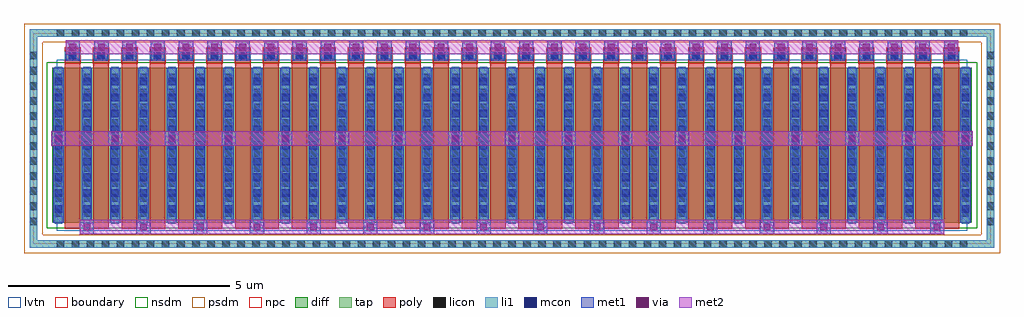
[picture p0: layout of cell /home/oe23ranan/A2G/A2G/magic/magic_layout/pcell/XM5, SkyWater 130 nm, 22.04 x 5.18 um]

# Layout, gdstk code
import gdstk
lib = gdstk.Library(unit=1e-6, precision=1e-09)
def R(c, l, rs):  # rectangles x0, y0, x1, y1
    for r in rs: c.add(gdstk.rectangle(r[:2], r[2:], *l))
def A(c, l, x, y, w, h, nx, ny, dx, dy):  # array of equal rectangles
    R(c, l, [(x+i*dx, y+j*dy, x+i*dx+w, y+j*dy+h) for i in range(nx) for j in range(ny)])
diff = (65, 20)
tap = (65, 44)
poly = (66, 20)
licon = (66, 44)
li1 = (67, 20)
mcon = (67, 44)
met1 = (68, 20)
via = (68, 44)
met2 = (69, 20)
nsdm = (93, 44)
psdm = (94, 20)
npc = (95, 20)
lvtn = (125, 44)
boundary = (235, 4)

via_m1_m2_1 = lib.new_cell('via_M1_M2_1')
R(via_m1_m2_1, met1, [(-0.16,-0.16,0.16,0.16)])
R(via_m1_m2_1, via, [(-0.075,-0.075,0.075,0.075)])
R(via_m1_m2_1, met2, [(-0.16,-0.16,0.16,0.16)])

xm5_origin = lib.new_cell('XM5_origin')
R(xm5_origin, diff, [(-10.385,-1.905,10.385,1.595)])
R(xm5_origin, tap, [(-10.895,-2.465,10.895,-2.295), (-10.895,-2.295,-10.725,2.295), (10.725,-2.295,10.895,2.295), (-10.895,2.295,10.895,2.465)])
A(xm5_origin, poly, -10.095, -2.035, 0.35, 4.07, 32, 1, 0.64, 0)
A(xm5_origin, licon, -10.285, -2.465, 0.17, 0.17, 61, 2, 0.34, 4.76)
A(xm5_origin, licon, -10.895, -1.955, 0.17, 0.17, 1, 12, 0, 0.34)
A(xm5_origin, licon, 10.725, -1.955, 0.17, 0.17, 1, 12, 0, 0.34)
A(xm5_origin, licon, -10.325, -1.77, 0.17, 0.17, 33, 10, 0.64, 0.34)
A(xm5_origin, licon, -10.005, 1.785, 0.17, 0.17, 32, 1, 0.64, 0)
A(xm5_origin, li1, -10.325, -1.925, 0.17, 3.54, 33, 1, 0.64, 0)
A(xm5_origin, li1, -10.095, 1.785, 0.35, 0.17, 32, 1, 0.64, 0)
R(xm5_origin, li1, [(-10.895,-2.465,10.895,-2.295), (-10.895,-2.295,-10.725,2.295), (10.725,-2.295,10.895,2.295), (-10.895,2.295,10.895,2.465)])
A(xm5_origin, mcon, -10.325, -1.68, 0.17, 0.17, 33, 9, 0.64, 0.36)
A(xm5_origin, mcon, -10.005, 1.785, 0.17, 0.17, 32, 1, 0.64, 0)
A(xm5_origin, met1, -10.355, -1.905, 0.23, 3.5, 33, 1, 0.64, 0)
A(xm5_origin, met1, -10.075, 1.755, 0.31, 0.23, 32, 1, 0.64, 0)
R(xm5_origin, nsdm, [(-10.51,-2.03,10.51,1.72)])
R(xm5_origin, psdm, [(-11.02,-2.59,11.02,-2.17), (-11.02,-2.17,-10.6,2.17), (10.6,-2.17,11.02,2.17), (-11.02,2.17,11.02,2.59)])
A(xm5_origin, npc, -10.105, 1.685, 0.37, 0.37, 32, 1, 0.64, 0)
R(xm5_origin, lvtn, [(-10.275,-2.085,10.275,1.775)])
R(xm5_origin, boundary, [(-10.81,-2.38,10.81,2.38)])
xm5_origin.add(gdstk.Label('G', (-9.92,1.87), layer=68, texttype=5))
xm5_origin.add(gdstk.Label('G', (-9.275,1.87), layer=68, texttype=5))
xm5_origin.add(gdstk.Label('G', (-8.64,1.87), layer=68, texttype=5))
xm5_origin.add(gdstk.Label('G', (-8,1.87), layer=68, texttype=5))
xm5_origin.add(gdstk.Label('G', (-7.36,1.87), layer=68, texttype=5))
xm5_origin.add(gdstk.Label('G', (-6.72,1.87), layer=68, texttype=5))
xm5_origin.add(gdstk.Label('G', (-6.08,1.87), layer=68, texttype=5))
xm5_origin.add(gdstk.Label('G', (-5.44,1.87), layer=68, texttype=5))
xm5_origin.add(gdstk.Label('G', (-4.8,1.87), layer=68, texttype=5))
xm5_origin.add(gdstk.Label('G', (-4.16,1.87), layer=68, texttype=5))
xm5_origin.add(gdstk.Label('G', (-3.52,1.87), layer=68, texttype=5))
xm5_origin.add(gdstk.Label('G', (-2.88,1.87), layer=68, texttype=5))
xm5_origin.add(gdstk.Label('G', (-2.24,1.87), layer=68, texttype=5))
xm5_origin.add(gdstk.Label('G', (-1.6,1.87), layer=68, texttype=5))
xm5_origin.add(gdstk.Label('G', (-0.96,1.87), layer=68, texttype=5))
xm5_origin.add(gdstk.Label('G', (-0.32,1.87), layer=68, texttype=5))
xm5_origin.add(gdstk.Label('G', (0.32,1.87), layer=68, texttype=5))
xm5_origin.add(gdstk.Label('G', (0.96,1.87), layer=68, texttype=5))
xm5_origin.add(gdstk.Label('G', (1.6,1.87), layer=68, texttype=5))
xm5_origin.add(gdstk.Label('G', (2.24,1.87), layer=68, texttype=5))
xm5_origin.add(gdstk.Label('G', (2.88,1.87), layer=68, texttype=5))
xm5_origin.add(gdstk.Label('G', (3.52,1.87), layer=68, texttype=5))
xm5_origin.add(gdstk.Label('G', (4.16,1.87), layer=68, texttype=5))
xm5_origin.add(gdstk.Label('G', (4.8,1.87), layer=68, texttype=5))
xm5_origin.add(gdstk.Label('G', (5.44,1.87), layer=68, texttype=5))
xm5_origin.add(gdstk.Label('G', (6.08,1.87), layer=68, texttype=5))
xm5_origin.add(gdstk.Label('G', (6.72,1.87), layer=68, texttype=5))
xm5_origin.add(gdstk.Label('G', (7.36,1.87), layer=68, texttype=5))
xm5_origin.add(gdstk.Label('G', (8,1.87), layer=68, texttype=5))
xm5_origin.add(gdstk.Label('G', (8.64,1.87), layer=68, texttype=5))
xm5_origin.add(gdstk.Label('G', (9.275,1.87), layer=68, texttype=5))
xm5_origin.add(gdstk.Label('G', (9.92,1.87), layer=68, texttype=5))
xm5_origin.add(gdstk.Label('D', (-10.24,-0.155), layer=68, texttype=5))
xm5_origin.add(gdstk.Label('S', (-9.6,-0.155), layer=68, texttype=5))
xm5_origin.add(gdstk.Label('D', (-8.96,-0.155), layer=68, texttype=5))
xm5_origin.add(gdstk.Label('S', (-8.32,-0.155), layer=68, texttype=5))
xm5_origin.add(gdstk.Label('D', (-7.68,-0.155), layer=68, texttype=5))
xm5_origin.add(gdstk.Label('S', (-7.04,-0.155), layer=68, texttype=5))
xm5_origin.add(gdstk.Label('D', (-6.4,-0.155), layer=68, texttype=5))
xm5_origin.add(gdstk.Label('S', (-5.76,-0.155), layer=68, texttype=5))
xm5_origin.add(gdstk.Label('D', (-5.12,-0.155), layer=68, texttype=5))
xm5_origin.add(gdstk.Label('S', (-4.48,-0.155), layer=68, texttype=5))
xm5_origin.add(gdstk.Label('D', (-3.84,-0.155), layer=68, texttype=5))
xm5_origin.add(gdstk.Label('S', (-3.2,-0.155), layer=68, texttype=5))
xm5_origin.add(gdstk.Label('D', (-2.56,-0.155), layer=68, texttype=5))
xm5_origin.add(gdstk.Label('S', (-1.92,-0.155), layer=68, texttype=5))
xm5_origin.add(gdstk.Label('D', (-1.28,-0.155), layer=68, texttype=5))
xm5_origin.add(gdstk.Label('S', (-0.64,-0.155), layer=68, texttype=5))
xm5_origin.add(gdstk.Label('D', (0,-0.155), layer=68, texttype=5))
xm5_origin.add(gdstk.Label('S', (0.64,-0.155), layer=68, texttype=5))
xm5_origin.add(gdstk.Label('D', (1.28,-0.155), layer=68, texttype=5))
xm5_origin.add(gdstk.Label('S', (1.92,-0.155), layer=68, texttype=5))
xm5_origin.add(gdstk.Label('D', (2.56,-0.155), layer=68, texttype=5))
xm5_origin.add(gdstk.Label('S', (3.2,-0.155), layer=68, texttype=5))
xm5_origin.add(gdstk.Label('D', (3.84,-0.155), layer=68, texttype=5))
xm5_origin.add(gdstk.Label('S', (4.48,-0.155), layer=68, texttype=5))
xm5_origin.add(gdstk.Label('D', (5.12,-0.155), layer=68, texttype=5))
xm5_origin.add(gdstk.Label('S', (5.76,-0.155), layer=68, texttype=5))
xm5_origin.add(gdstk.Label('D', (6.4,-0.155), layer=68, texttype=5))
xm5_origin.add(gdstk.Label('S', (7.04,-0.155), layer=68, texttype=5))
xm5_origin.add(gdstk.Label('D', (7.68,-0.155), layer=68, texttype=5))
xm5_origin.add(gdstk.Label('S', (8.32,-0.155), layer=68, texttype=5))
xm5_origin.add(gdstk.Label('D', (8.96,-0.155), layer=68, texttype=5))
xm5_origin.add(gdstk.Label('S', (9.6,-0.155), layer=68, texttype=5))
xm5_origin.add(gdstk.Label('D', (10.24,-0.155), layer=68, texttype=5))

c__home_oe23ranan_a2g_a2g_ = lib.new_cell('/home/oe23ranan/A2G/A2G/magic/magic_layout/pcell/XM5')
R(c__home_oe23ranan_a2g_a2g_, met2, [(-9.76,-2.16,9.76,-1.84), (-10.4,-0.16,10.4,0.16), (-10.08,1.9,10.08,2.22)])
c__home_oe23ranan_a2g_a2g_.add(gdstk.Reference(via_m1_m2_1, (-9.6,-2)))
c__home_oe23ranan_a2g_a2g_.add(gdstk.Reference(via_m1_m2_1, (-8.96,0)))
c__home_oe23ranan_a2g_a2g_.add(gdstk.Reference(via_m1_m2_1, (-10.24,0)))
c__home_oe23ranan_a2g_a2g_.add(gdstk.Reference(via_m1_m2_1, (-7.04,-2)))
c__home_oe23ranan_a2g_a2g_.add(gdstk.Reference(via_m1_m2_1, (-8.32,-2)))
c__home_oe23ranan_a2g_a2g_.add(gdstk.Reference(via_m1_m2_1, (-7.68,0)))
c__home_oe23ranan_a2g_a2g_.add(gdstk.Reference(via_m1_m2_1, (-5.76,-2)))
c__home_oe23ranan_a2g_a2g_.add(gdstk.Reference(via_m1_m2_1, (-5.12,0)))
c__home_oe23ranan_a2g_a2g_.add(gdstk.Reference(via_m1_m2_1, (-6.4,0)))
c__home_oe23ranan_a2g_a2g_.add(gdstk.Reference(via_m1_m2_1, (-3.2,-2)))
c__home_oe23ranan_a2g_a2g_.add(gdstk.Reference(via_m1_m2_1, (-4.48,-2)))
c__home_oe23ranan_a2g_a2g_.add(gdstk.Reference(via_m1_m2_1, (-3.84,0)))
c__home_oe23ranan_a2g_a2g_.add(gdstk.Reference(via_m1_m2_1, (-1.92,-2)))
c__home_oe23ranan_a2g_a2g_.add(gdstk.Reference(via_m1_m2_1, (-1.28,0)))
c__home_oe23ranan_a2g_a2g_.add(gdstk.Reference(via_m1_m2_1, (-2.56,0)))
c__home_oe23ranan_a2g_a2g_.add(gdstk.Reference(via_m1_m2_1, (0.64,-2)))
c__home_oe23ranan_a2g_a2g_.add(gdstk.Reference(via_m1_m2_1, (-0.64,-2)))
c__home_oe23ranan_a2g_a2g_.add(gdstk.Reference(via_m1_m2_1, (0,0)))
c__home_oe23ranan_a2g_a2g_.add(gdstk.Reference(via_m1_m2_1, (1.92,-2)))
c__home_oe23ranan_a2g_a2g_.add(gdstk.Reference(via_m1_m2_1, (1.28,0)))
c__home_oe23ranan_a2g_a2g_.add(gdstk.Reference(via_m1_m2_1, (2.56,0)))
c__home_oe23ranan_a2g_a2g_.add(gdstk.Reference(via_m1_m2_1, (4.48,-2)))
c__home_oe23ranan_a2g_a2g_.add(gdstk.Reference(via_m1_m2_1, (3.2,-2)))
c__home_oe23ranan_a2g_a2g_.add(gdstk.Reference(via_m1_m2_1, (5.12,0)))
c__home_oe23ranan_a2g_a2g_.add(gdstk.Reference(via_m1_m2_1, (3.84,0)))
c__home_oe23ranan_a2g_a2g_.add(gdstk.Reference(via_m1_m2_1, (7.04,-2)))
c__home_oe23ranan_a2g_a2g_.add(gdstk.Reference(via_m1_m2_1, (5.76,-2)))
c__home_oe23ranan_a2g_a2g_.add(gdstk.Reference(via_m1_m2_1, (6.4,0)))
c__home_oe23ranan_a2g_a2g_.add(gdstk.Reference(via_m1_m2_1, (8.32,-2)))
c__home_oe23ranan_a2g_a2g_.add(gdstk.Reference(via_m1_m2_1, (8.96,0)))
c__home_oe23ranan_a2g_a2g_.add(gdstk.Reference(via_m1_m2_1, (7.68,0)))
c__home_oe23ranan_a2g_a2g_.add(gdstk.Reference(via_m1_m2_1, (9.6,-2)))
c__home_oe23ranan_a2g_a2g_.add(gdstk.Reference(via_m1_m2_1, (10.24,0)))
c__home_oe23ranan_a2g_a2g_.add(gdstk.Reference(via_m1_m2_1, (9.92,2.06)))
c__home_oe23ranan_a2g_a2g_.add(gdstk.Reference(via_m1_m2_1, (9.27,2.06)))
c__home_oe23ranan_a2g_a2g_.add(gdstk.Reference(via_m1_m2_1, (8.64,2.06)))
c__home_oe23ranan_a2g_a2g_.add(gdstk.Reference(via_m1_m2_1, (8,2.06)))
c__home_oe23ranan_a2g_a2g_.add(gdstk.Reference(via_m1_m2_1, (7.36,2.06)))
c__home_oe23ranan_a2g_a2g_.add(gdstk.Reference(via_m1_m2_1, (6.72,2.06)))
c__home_oe23ranan_a2g_a2g_.add(gdstk.Reference(via_m1_m2_1, (6.08,2.06)))
c__home_oe23ranan_a2g_a2g_.add(gdstk.Reference(via_m1_m2_1, (5.44,2.06)))
c__home_oe23ranan_a2g_a2g_.add(gdstk.Reference(via_m1_m2_1, (4.8,2.06)))
c__home_oe23ranan_a2g_a2g_.add(gdstk.Reference(via_m1_m2_1, (4.16,2.06)))
c__home_oe23ranan_a2g_a2g_.add(gdstk.Reference(via_m1_m2_1, (3.52,2.06)))
c__home_oe23ranan_a2g_a2g_.add(gdstk.Reference(via_m1_m2_1, (2.88,2.06)))
c__home_oe23ranan_a2g_a2g_.add(gdstk.Reference(via_m1_m2_1, (2.24,2.06)))
c__home_oe23ranan_a2g_a2g_.add(gdstk.Reference(via_m1_m2_1, (1.6,2.06)))
c__home_oe23ranan_a2g_a2g_.add(gdstk.Reference(via_m1_m2_1, (0.96,2.06)))
c__home_oe23ranan_a2g_a2g_.add(gdstk.Reference(via_m1_m2_1, (0.32,2.06)))
c__home_oe23ranan_a2g_a2g_.add(gdstk.Reference(via_m1_m2_1, (-0.32,2.06)))
c__home_oe23ranan_a2g_a2g_.add(gdstk.Reference(via_m1_m2_1, (-0.96,2.06)))
c__home_oe23ranan_a2g_a2g_.add(gdstk.Reference(via_m1_m2_1, (-1.6,2.06)))
c__home_oe23ranan_a2g_a2g_.add(gdstk.Reference(via_m1_m2_1, (-2.24,2.06)))
c__home_oe23ranan_a2g_a2g_.add(gdstk.Reference(via_m1_m2_1, (-2.88,2.06)))
c__home_oe23ranan_a2g_a2g_.add(gdstk.Reference(via_m1_m2_1, (-3.52,2.06)))
c__home_oe23ranan_a2g_a2g_.add(gdstk.Reference(via_m1_m2_1, (-4.16,2.06)))
c__home_oe23ranan_a2g_a2g_.add(gdstk.Reference(via_m1_m2_1, (-4.8,2.06)))
c__home_oe23ranan_a2g_a2g_.add(gdstk.Reference(via_m1_m2_1, (-5.44,2.06)))
c__home_oe23ranan_a2g_a2g_.add(gdstk.Reference(via_m1_m2_1, (-6.08,2.06)))
c__home_oe23ranan_a2g_a2g_.add(gdstk.Reference(via_m1_m2_1, (-6.72,2.06)))
c__home_oe23ranan_a2g_a2g_.add(gdstk.Reference(via_m1_m2_1, (-7.36,2.06)))
c__home_oe23ranan_a2g_a2g_.add(gdstk.Reference(via_m1_m2_1, (-8,2.06)))
c__home_oe23ranan_a2g_a2g_.add(gdstk.Reference(via_m1_m2_1, (-8.64,2.06)))
c__home_oe23ranan_a2g_a2g_.add(gdstk.Reference(via_m1_m2_1, (-9.27,2.06)))
c__home_oe23ranan_a2g_a2g_.add(gdstk.Reference(via_m1_m2_1, (-9.92,2.06)))
c__home_oe23ranan_a2g_a2g_.add(gdstk.Reference(xm5_origin, (0,0)))

lib.write_gds('_home_oe23ranan_A2G_A2G_magic_magic_layout_pcell_XM5.gds')
